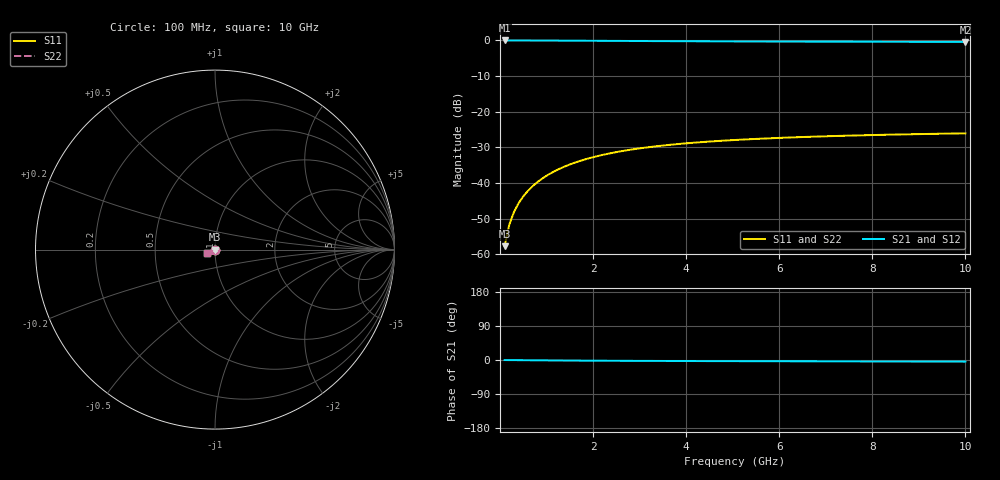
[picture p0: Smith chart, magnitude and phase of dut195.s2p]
! Touchstone file exported from HFSS 2024.1.0
!  File:  C:/UserFiles/LocalFiles/RDL_TSV_Batchsim/temp_TSV1_195_1779385344.aedt
!  Generated:  01:47:57 AM May 22, 2026
!  Design:  TSV1
!  Project:  temp_TSV1_195_1779385344
!  Setup:  Setup1
!  Solution:  Sweep
! Variables:
!  dtsv = 12.88um
!  hbump = 3um
!  htsv = 63.13um
!  lrdl = 252.1521522um
!  p = 40
!  p1 = 42.61um
!  t = 500um
!  trdl = 3um
!  wrdl = 24.89489489um
# GHz S MA R 50.000000
! Terminal data exported
! Port[1] = TSV22_T1
! Port[2] = TSV22_T2
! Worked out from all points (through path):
!   100 points, 100 MHz to 10 GHz, reference 50 ohm
!   highest |S21| = 0.00 dB at 100 MHz (marker M1); lowest = -0.4 dB at 10 GHz (marker M2)
!   lowest |S11| = -57.8 dB at 100 MHz (marker M3), VSWR 1.00, Z = 50 - j0.129 ohm
!   |S11| at or under -10 dB: start of sweep to end of sweep
!   |S22| runs from -57.8 to -26.1 dB; largest |S21 - S12| = 2.3e-15
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0.1  0.001295 -87.9  0.9999 -0.1  0.9999 -0.1  0.001295 -87.9
! Gamma 0 0 0 0
! Port Impedance 50 0 50 0
0.2  0.002594 -90.9  0.9998 -0.2  0.9998 -0.2  0.002594 -90.9
0.3  0.003894 -93.0  0.9996 -0.3  0.9996 -0.3  0.003894 -93.0
0.4  0.005186 -94.8  0.9994 -0.4  0.9994 -0.4  0.005186 -94.8
0.5  0.006466 -96.5  0.999 -0.5  0.999 -0.5  0.006467 -96.5
0.6  0.007733 -98.1  0.9987 -0.6  0.9987 -0.6  0.007733 -98.1
0.7  0.008982 -99.6  0.9983 -0.7  0.9983 -0.7  0.008982 -99.6
0.8  0.01021 -101.1  0.9978 -0.8  0.9978 -0.8  0.01021 -101.1
0.9  0.01142 -102.6  0.9972 -0.9  0.9972 -0.9  0.01142 -102.6
1.1  0.01377 -105.4  0.9961 -1.1  0.9961 -1.1  0.01377 -105.4
1.4  0.01709 -109.4  0.994 -1.4  0.994 -1.4  0.01709 -109.4
1.6  0.01917 -112.0  0.9925 -1.5  0.9925 -1.5  0.01917 -112.0
1.8  0.02113 -114.4  0.991 -1.7  0.991 -1.7  0.02113 -114.4
2.1  0.02385 -117.8  0.9887 -1.9  0.9887 -1.9  0.02385 -117.8
2.5  0.02708 -121.9  0.9855 -2.1  0.9855 -2.1  0.02708 -121.9
2.9  0.0299 -125.6  0.9825 -2.3  0.9825 -2.3  0.0299 -125.6
3.4  0.03293 -129.6  0.979 -2.5  0.979 -2.5  0.03293 -129.6
4.2  0.03684 -135.0  0.974 -2.8  0.974 -2.8  0.03684 -135.0
5.1  0.04023 -139.9  0.9692 -3.1  0.9692 -3.1  0.04023 -139.9
6.7  0.04453 -146.4  0.9628 -3.5  0.9628 -3.5  0.04453 -146.4
8.4  0.04762 -151.5  0.9581 -3.9  0.9581 -3.9  0.04762 -151.5
10  0.04966 -155.1  0.9549 -4.3  0.9549 -4.3  0.04966 -155.1
